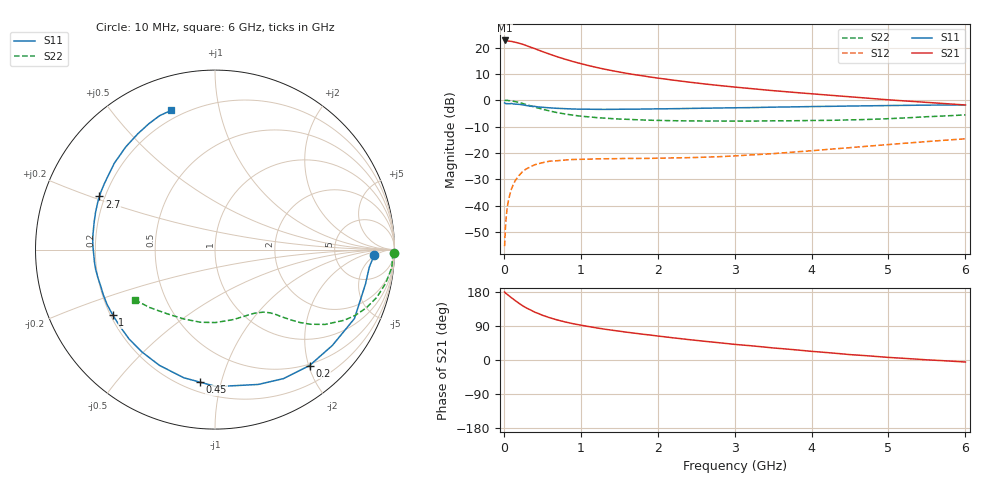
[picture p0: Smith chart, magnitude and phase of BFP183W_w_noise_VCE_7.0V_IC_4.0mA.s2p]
! Infineon Technologies  Discrete & RF Semiconductors
! BFP183W
! VCE =  7.0 V,  IC =  4.0 mA
! Common Emitter S-Parameters:  Jan 2017
# GHz  S  MA  R  50
!  f  S11  S21  S12  S22
! GHz  MAG  ANG  MAG  ANG  MAG  ANG  MAG  ANG
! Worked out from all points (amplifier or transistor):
!   77 points, 10 MHz to 6 GHz, reference 50 ohm
!   highest |S21| = 22.7 dB at 10 MHz (marker M1)
!   |S21| within 3 dB of that: start of sweep to 391.8 MHz
!   unconditionally stable (mu >= 1): 2.379 GHz to 4.378 GHz
!   at 130 MHz: K = 0.07, MSG = 26.9 dB, |S12| = -31.6 dB
!   at 2.2 GHz: K = 0.96, MSG = 14.8 dB, |S12| = -21.9 dB
!   at 6 GHz: K = 0.79, MSG = 6.4 dB, |S12| = -14.6 dB
!   lowest NFmin = 0.73 dB at 450 MHz
!   S11 on the Smith chart (normalised r, x): 10 MHz: 16, -4; 200 MHz: 0.48, -2.01; 450 MHz: 0.26, -0.86; 1 GHz: 0.21, -0.28; 2.7 GHz: 0.18, +0.21; 6 GHz: 0.16, +0.72
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0.01  0.8878 -1.9  13.61 179.4  0.0017 97.2  0.9988 -1.2
0.02  0.8652 -6.5  13.44 176.9  0.0037 88.6  0.9904 -2.3
0.04  0.8605 -10.8  13.36 173.8  0.0082 83.5  0.9899 -4.6
0.1  0.8667 -26.3  13.06 164.1  0.0208 77.1  0.9686 -11.3
0.2  0.8334 -50.8  12.03 149.2  0.0376 64.7  0.903 -21.1
0.25  0.8139 -62.0  11.44 142.4  0.0453 58.4  0.8624 -25.2
0.3  0.7891 -72.2  10.77 136.6  0.0505 53.5  0.8201 -28.7
0.4  0.7632 -89.4  9.541 126.4  0.0595 45.7  0.7419 -34.2
0.45  0.7433 -96.4  8.94 122.6  0.0623 42.7  0.7083 -36.0
0.5  0.735 -103.7  8.385 118.2  0.0652 40.0  0.6755 -38.0
0.6  0.7155 -115.6  7.441 111.3  0.0699 35.6  0.6223 -40.7
0.7  0.7008 -125.4  6.625 105.4  0.0712 32.8  0.5788 -42.7
0.8  0.6908 -133.9  5.976 100.3  0.0734 30.4  0.5469 -44.2
1  0.6762 -147.3  4.95 92.0  0.0755 26.8  0.4981 -46.7
1.1  0.6747 -153.0  4.548 88.4  0.0761 26.4  0.4836 -47.7
1.6  0.6753 -174.2  3.228 73.3  0.0787 24.8  0.4341 -53.7
2.1  0.6868 170.1  2.516 61.0  0.0798 27.6  0.4111 -61.4
2.7  0.7084 155.3  1.97 47.6  0.0838 33.1  0.4027 -73.0
3.1  0.7207 147.0  1.721 39.5  0.0895 36.9  0.4016 -81.2
4.1  0.7607 129.4  1.289 21.3  0.1131 43.8  0.4131 -103.8
5.1  0.7948 116.6  0.994 5.6  0.148 45.1  0.4529 -129.4
6  0.8132 107.5  0.811 -5.3  0.1853 41.8  0.5263 -147.7
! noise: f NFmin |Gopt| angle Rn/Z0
0.45  0.73  0.32  50  0.29
0.9  0.9  0.29  94  0.14
1.9  1.5  0.43  165  0.08
2.4  1.78  0.48  179  0.08
